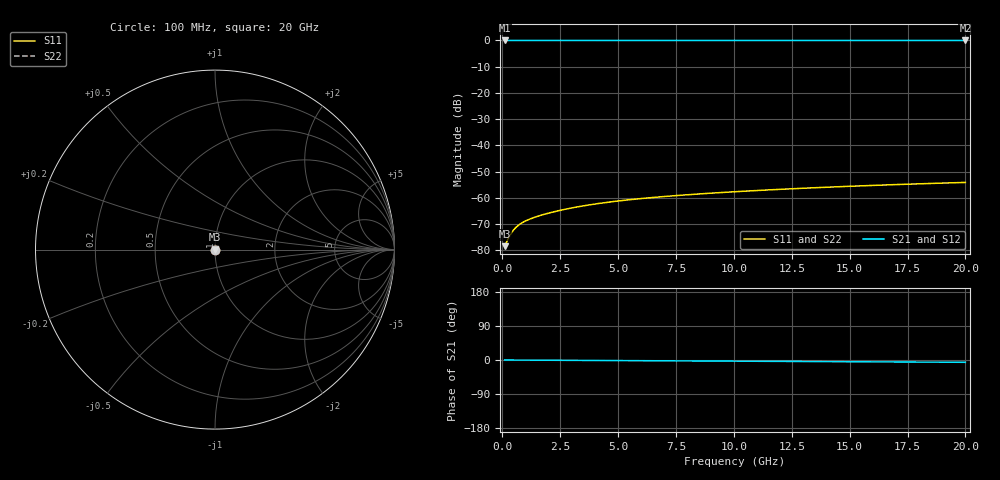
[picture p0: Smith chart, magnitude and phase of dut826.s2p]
! Touchstone file exported from HFSS 2026.1.0
!  File:  C:/ffzhzh/LocalFiles/Ansys_Project_Files/temp_train_TSV_826_1783184636_18472.aedt
!  Generated:  01:05:12 AM Jul  5, 2026
!  Design:  TSV
!  Project:  temp_train_TSV_826_1783184636_18472
! Variables:
!  h_bsmrdl = 2um
!  h_ox = 20um
!  h_rdl = 5um
!  h_sub = 59.16um
!  h_tmrdl = 5um
!  h_tsv = 59.16um
!  h_via = 3um
!  l_bsmrdl = 300um
!  l_sub = 418.86um
!  l_tmrdl = 200um
!  m_sub = 200um
!  pitch = 38.44um
!  r_tsv = 9.43um
!  s_tmrdl = 10um
!  w_bsmrdl = 18um
!  w_sub = 500um
!  w_tmrdl = 12um
!  x_tsv_center1 = 206um
!  x_tsv_center2 = 524um
!  x_tsv_center3 = 736um
!  x_tsv_center4 = 1054um
!  x_tsv_center5 = 1266um
!  x_tsv_center6 = 1584um
# GHz S MA R 50.000000
! Terminal data exported
! Port[1] = TSV1_1_T1
! Port[2] = TSV1_1_T2
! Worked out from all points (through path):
!   200 points, 100 MHz to 20 GHz, reference 50 ohm
!   highest |S21| = 0.00 dB at 100 MHz (marker M1); lowest = 0.0 dB at 20 GHz (marker M2)
!   lowest |S11| = -78.4 dB at 100 MHz (marker M3), VSWR 1.00, Z = 50 + j0.00435 ohm
!   |S11| at or under -10 dB: start of sweep to end of sweep
!   |S22| runs from -78.4 to -54.1 dB; largest |S21 - S12| = 5.4e-15
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0.1  0.0001208 21.1  0.9999 -0.0  0.9999 -0.0  0.0001208 21.1
! Gamma 0 0 0 0
! Port Impedance 50 0 50 0
0.3  0.0001837 40.9  0.9999 -0.1  0.9999 -0.1  0.0001837 40.9
0.4  0.000218 43.9  0.9998 -0.1  0.9998 -0.1  0.000218 43.9
0.5  0.0002496 45.1  0.9998 -0.2  0.9998 -0.2  0.0002496 45.1
0.6  0.000278 45.6  0.9998 -0.2  0.9998 -0.2  0.000278 45.6
0.7  0.0003032 45.7  0.9998 -0.2  0.9998 -0.2  0.0003032 45.7
0.8  0.0003258 45.7  0.9998 -0.3  0.9998 -0.3  0.0003258 45.7
1  0.000365 45.8  0.9997 -0.3  0.9997 -0.3  0.000365 45.8
1.2  0.0003989 46.0  0.9997 -0.4  0.9997 -0.4  0.0003989 46.0
1.4  0.0004297 46.4  0.9997 -0.4  0.9997 -0.4  0.0004297 46.4
2  0.0005146 48.0  0.9997 -0.6  0.9997 -0.6  0.0005146 48.0
2.7  0.0006076 49.6  0.9996 -0.8  0.9996 -0.8  0.0006076 49.6
3.5  0.0007078 50.6  0.9996 -1.1  0.9996 -1.1  0.0007078 50.6
4.2  0.0007895 51.0  0.9995 -1.3  0.9995 -1.3  0.0007895 51.0
5  0.0008759 51.2  0.9995 -1.5  0.9995 -1.5  0.0008759 51.2
5.8  0.000956 51.3  0.9994 -1.8  0.9994 -1.8  0.0009559 51.3
6.8  0.001049 51.4  0.9994 -2.1  0.9994 -2.1  0.001049 51.4
8.3  0.001177 51.6  0.9993 -2.5  0.9993 -2.5  0.001177 51.6
10.1  0.00132 51.7  0.9992 -3.1  0.9992 -3.1  0.00132 51.7
13.4  0.001561 51.8  0.9991 -4.1  0.9991 -4.1  0.001561 51.8
16.7  0.001781 51.5  0.999 -5.1  0.999 -5.1  0.00178 51.5
20  0.001978 50.9  0.9989 -6.1  0.9989 -6.1  0.001977 50.9
